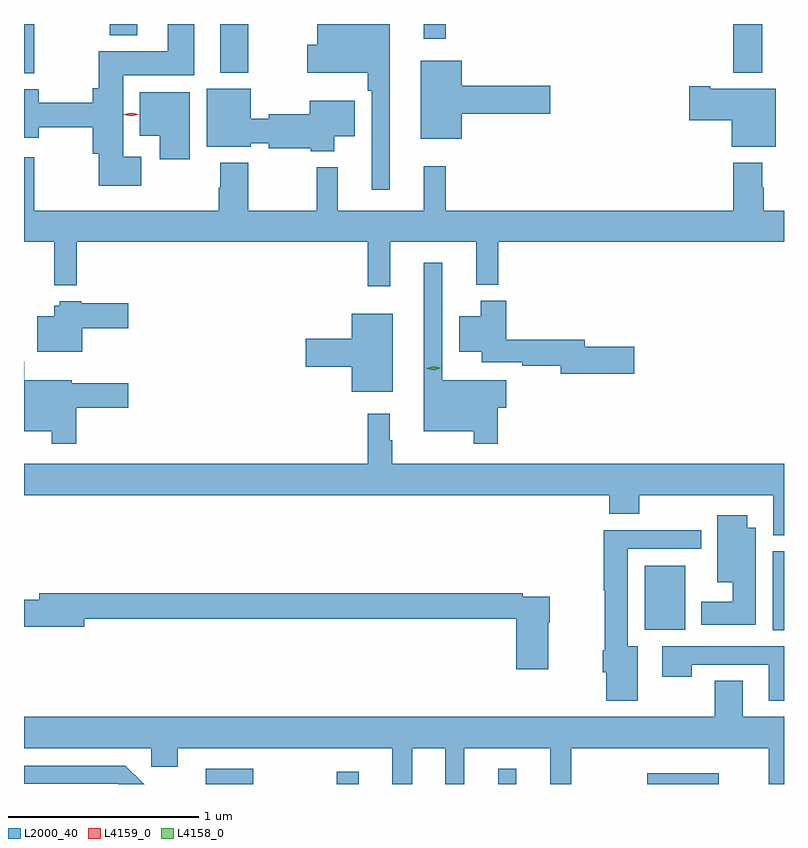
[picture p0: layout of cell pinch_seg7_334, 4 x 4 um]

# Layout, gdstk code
import gdstk
lib = gdstk.Library(unit=1e-6, precision=1e-09)
def R(c, l, rs):  # rectangles x0, y0, x1, y1
    for r in rs: c.add(gdstk.rectangle(r[:2], r[2:], *l))
def P(c, l, *ps):  # polygons
    for p in ps: c.add(gdstk.Polygon(p, *l))
L2000_40 = (2000, 40)
L4158_0 = (4158, 0)
L4159_0 = (4159, 0)

pinch_seg7_334 = lib.new_cell('pinch_seg7_334')
R(pinch_seg7_334, L2000_40, [(425.436,1003.091,425.686,1003.17), (426.127,1003.091,426.241,1003.156), (426.975,1003.091,427.072,1003.171), (427.759,1003.091,428.137,1003.147), (428.42,1003.9,428.48,1004.316), (427.748,1003.904,427.96,1004.239), (424.48,1006.832,424.535,1007.091), (425.513,1006.835,425.661,1007.091), (428.213,1006.835,428.365,1007.091), (426.584,1007.013,426.701,1007.091), (424.93,1007.033,425.077,1007.091)])
P(pinch_seg7_334, L2000_40, [(426.406,1007.091),(426.024,1007.091),(426.024,1006.983),(425.972,1006.983),(425.972,1006.835),(426.289,1006.835),(426.289,1006.739),(426.309,1006.739),(426.309,1006.218),(426.406,1006.218)],
  [(425.098,1006.393),(425.002,1006.393),(425.002,1006.82),(425.377,1006.82),(425.377,1007.091),(425.237,1007.091),(425.237,1006.948),(424.873,1006.948),(424.873,1006.753),(424.841,1006.753),(424.841,1006.676),(424.558,1006.676),(424.558,1006.747),(424.48,1006.747),(424.48,1006.493),(424.558,1006.493),(424.558,1006.548),(424.841,1006.548),(424.841,1006.409),(424.873,1006.409),(424.873,1006.241),(425.098,1006.241)],
  [(426.784,1006.619),(427.249,1006.619),(427.249,1006.766),(426.784,1006.766),(426.784,1006.897),(426.569,1006.897),(426.569,1006.487),(426.784,1006.487)],
  [(428.437,1006.75),(428.092,1006.75),(428.092,1006.763),(427.98,1006.763),(427.98,1006.585),(428.204,1006.585),(428.204,1006.445),(428.437,1006.445)],
  [(426.112,1006.499),(426.22,1006.499),(426.22,1006.687),(425.984,1006.687),(425.984,1006.616),(425.768,1006.616),(425.768,1006.592),(425.674,1006.592),(425.674,1006.75),(425.441,1006.75),(425.441,1006.445),(425.674,1006.445),(425.674,1006.464),(425.768,1006.464),(425.768,1006.438),(425.988,1006.438),(425.988,1006.421),(426.112,1006.421)],
  [(425.353,1006.732),(425.09,1006.732),(425.09,1006.502),(425.195,1006.502),(425.195,1006.38),(425.353,1006.38)],
  [(426.131,1006.336),(426.021,1006.336),(426.021,1006.108),(425.661,1006.108),(425.661,1006.36),(425.513,1006.36),(425.513,1006.229),(425.506,1006.229),(425.506,1006.108),(424.535,1006.108),(424.535,1006.39),(424.48,1006.39),(424.48,1005.944),(424.64,1005.944),(424.64,1005.716),(424.757,1005.716),(424.757,1005.944),(426.289,1005.944),(426.289,1005.711),(426.407,1005.711),(426.407,1005.944),(426.86,1005.944),(426.86,1005.719),(426.977,1005.719),(426.977,1005.944),(428.48,1005.944),(428.48,1006.108),(428.373,1006.108),(428.373,1006.229),(428.365,1006.229),(428.365,1006.36),(428.213,1006.36),(428.213,1006.108),(426.701,1006.108),(426.701,1006.342),(426.584,1006.342),(426.584,1006.108),(426.131,1006.108)],
  [(426.974,1005.07),(427.018,1005.07),(427.018,1005.217),(426.681,1005.217),(426.681,1005.835),(426.584,1005.835),(426.584,1004.948),(426.846,1004.948),(426.846,1004.883),(426.974,1004.883)],
  [(427.693,1005.392),(427.432,1005.392),(427.432,1005.428),(427.019,1005.428),(427.019,1005.634),(426.884,1005.634),(426.884,1005.553),(426.77,1005.553),(426.77,1005.365),(426.89,1005.365),(426.89,1005.312),(427.102,1005.312),(427.102,1005.292),(427.304,1005.292),(427.304,1005.25),(427.693,1005.25)],
  [(424.786,1005.491),(425.029,1005.491),(425.029,1005.621),(424.782,1005.621),(424.782,1005.631),(424.668,1005.631),(424.668,1005.609),(424.64,1005.609),(424.64,1005.553),(424.55,1005.553),(424.55,1005.365),(424.786,1005.365)],
  [(426.421,1005.565),(426.206,1005.565),(426.206,1005.434),(425.964,1005.434),(425.964,1005.287),(426.206,1005.287),(426.206,1005.155),(426.421,1005.155)],
  [(424.754,1005.07),(425.029,1005.07),(425.029,1005.199),(424.731,1005.199),(424.731,1005.217),(424.481,1005.217),(424.481,1005.313),(424.48,1005.313),(424.48,1004.948),(424.626,1004.948),(424.626,1004.883),(424.754,1004.883)],
  [(428.48,1004.776),(426.418,1004.776),(426.418,1004.9),(426.406,1004.9),(426.406,1005.04),(426.289,1005.04),(426.289,1004.776),(424.48,1004.776),(424.48,1004.612),(427.559,1004.612),(427.559,1004.513),(427.719,1004.513),(427.719,1004.612),(428.423,1004.612),(428.423,1004.401),(428.48,1004.401)],
  [(428.332,1004.44),(428.287,1004.44),(428.287,1004.506),(428.129,1004.506),(428.129,1004.153),(428.21,1004.153),(428.21,1004.05),(428.045,1004.05),(428.045,1003.928),(428.332,1003.928)],
  [(427.711,1003.816),(427.657,1003.816),(427.657,1004.328),(428.044,1004.328),(428.044,1004.426),(427.532,1004.426),(427.532,1004.108),(427.537,1004.108),(427.537,1003.794),(427.526,1003.794),(427.526,1003.68),(427.544,1003.68),(427.544,1003.53),(427.711,1003.53)],
  [(427.24,1003.943),(427.248,1003.943),(427.248,1004.076),(427.106,1004.076),(427.106,1004.096),(424.559,1004.096),(424.559,1004.06),(424.48,1004.06),(424.48,1003.918),(424.798,1003.918),(424.798,1003.96),(427.07,1003.96),(427.07,1003.695),(427.24,1003.695)],
  [(428.48,1003.815),(427.839,1003.815),(427.839,1003.656),(427.995,1003.656),(427.995,1003.719),(428.399,1003.719),(428.399,1003.53),(428.48,1003.53)],
  [(426.523,1003.28),(426.698,1003.28),(426.698,1003.091),(426.797,1003.091),(426.797,1003.28),(427.25,1003.28),(427.25,1003.091),(427.36,1003.091),(427.36,1003.28),(428.399,1003.28),(428.399,1003.091),(428.48,1003.091),(428.48,1003.444),(428.263,1003.444),(428.263,1003.634),(428.116,1003.634),(428.116,1003.444),(424.48,1003.444),(424.48,1003.28),(425.151,1003.28),(425.151,1003.182),(425.29,1003.182),(425.29,1003.28),(426.419,1003.28),(426.419,1003.091),(426.523,1003.091)],
  [(425.106,1003.098),(425.105,1003.097),(425.014,1003.188),(424.48,1003.188),(424.48,1003.092),(424.975,1003.092),(424.976,1003.091),(425.113,1003.091)])
P(pinch_seg7_334, L4158_0, [(426.636,1005.269),(426.6,1005.277),(426.6,1005.277),(426.6,1005.278),(426.635,1005.289),(426.671,1005.281),(426.671,1005.281),(426.671,1005.28)])
P(pinch_seg7_334, L4159_0, [(425.046,1006.605),(425.007,1006.614),(425.006,1006.614),(425.007,1006.615),(425.046,1006.625),(425.085,1006.615),(425.085,1006.615),(425.085,1006.615)])

lib.write_gds('pinch_seg7_334.gds')
